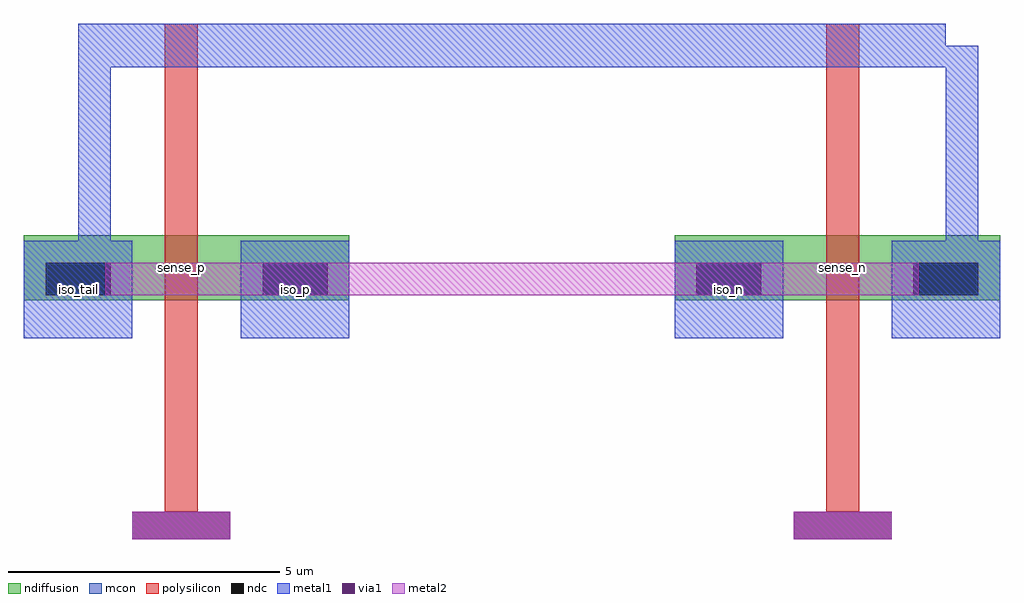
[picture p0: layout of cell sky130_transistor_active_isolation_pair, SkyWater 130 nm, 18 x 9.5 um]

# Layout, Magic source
magic
tech sky130A
<< ndiffusion >>
rect 300 690 900 810
rect 1500 690 2100 810
<< polysilicon >>
rect 560 300 620 1200
rect 1780 300 1840 1200
<< ndc >>
rect 340 700 460 760
rect 740 700 860 760
rect 1540 700 1660 760
rect 1940 700 2060 760
<< mcon >>
rect 340 700 460 760
rect 740 700 860 760
rect 1540 700 1660 760
rect 1940 700 2060 760
<< metal1 >>
rect 300 620 500 800
rect 700 620 900 800
rect 1500 620 1700 800
rect 1900 620 2100 800
rect 400 700 460 1160
rect 2000 700 2060 1160
rect 400 1120 2000 1200
<< metal2 >>
rect 500 250 680 300
rect 1720 250 1900 300
rect 450 700 1950 760
<< via1 >>
rect 500 250 680 300
rect 1720 250 1900 300
<< labels >>
rlabel metal1 300 620 500 800 0 iso_tail
port 1 nsew
rlabel metal1 700 620 900 800 0 iso_p
port 2 nsew
rlabel metal1 1500 620 1700 800 0 iso_n
port 3 nsew
rlabel polysilicon 560 300 620 1200 0 sense_p
port 4 nsew
rlabel polysilicon 1780 300 1840 1200 0 sense_n
port 5 nsew
<< end >>
